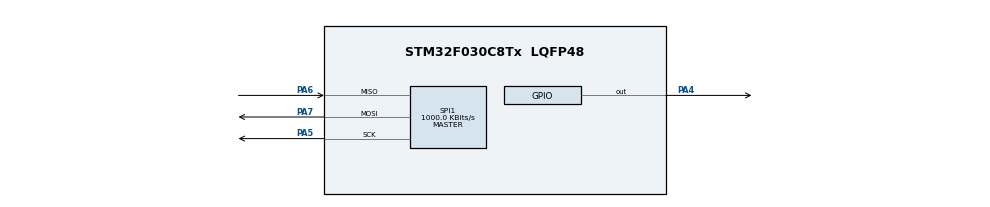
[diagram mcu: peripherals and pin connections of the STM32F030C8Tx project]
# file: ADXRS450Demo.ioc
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Mcu.Family=STM32F0
Mcu.Name=STM32F030C8Tx
Mcu.Package=LQFP48
PA4.Signal=GPIO_Output
PA5.Mode=Full_Duplex_Master
PA5.Signal=SPI1_SCK
PA6.Mode=Full_Duplex_Master
PA6.Signal=SPI1_MISO
PA7.Mode=Full_Duplex_Master
PA7.Signal=SPI1_MOSI
PF0-OSC_IN.Mode=HSE-External-Oscillator
PF0-OSC_IN.Signal=RCC_OSC_IN
PF1-OSC_OUT.Mode=HSE-External-Oscillator
PF1-OSC_OUT.Signal=RCC_OSC_OUT
ProjectManager.HeapSize=0x200
ProjectManager.StackSize=0x400
ProjectManager.TargetToolchain=STM32CubeIDE
SPI1.BaudRatePrescaler=SPI_BAUDRATEPRESCALER_8
SPI1.CalculateBaudRate=1000.0 KBits/s
SPI1.DataSize=SPI_DATASIZE_8BIT
SPI1.Direction=SPI_DIRECTION_2LINES
SPI1.Mode=SPI_MODE_MASTER
SPI1.NSSPMode=SPI_NSS_PULSE_DISABLE
SPI1.VirtualType=VM_MASTER
board=custom

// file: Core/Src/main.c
/* USER CODE BEGIN Header */
/**
  ******************************************************************************
  * @file           : main.c
  * @brief          : Main program body
  ******************************************************************************
  * @attention
  *
  * Copyright (c) 2024 STMicroelectronics.
  * All rights reserved.
  *
  * This software is licensed under terms that can be found in the LICENSE file
  * in the root directory of this software component.
  * If no LICENSE file comes with this software, it is provided AS-IS.
  *
  ******************************************************************************
  */
/* USER CODE END Header */
#include "main.h"
#include "spi.h"
#include "gpio.h"

#include "Libs/filters.h"
#include "subSystems/ADXRS453.h"
/* USER CODE END Includes */

/* USER CODE BEGIN PV */
double rate,temp;
double degree = 0;
float filteredRate;
double avgRate = 0;

double lastDegree = 0;
double drift = 0;

uint16_t sampleTime = 10; //Mill Seconds

uint32_t driftDuration = 60; //seconds
uint32_t sampleIndex = 0;
/* USER CODE END PV */

void SystemClock_Config(void);

int main(void)
{

  /* MCU Configuration--------------------------------------------------------*/

  /* Reset of all peripherals, Initializes the Flash interface and the Systick. */
  HAL_Init();

  /* Configure the system clock */
  SystemClock_Config();

  /* Initialize all configured peripherals */
  MX_GPIO_Init();
  MX_SPI1_Init();
  /* USER CODE BEGIN 2 */

  HAL_GPIO_WritePin(GPIOA,GPIO_PIN_4,GPIO_PIN_SET);
  HAL_Delay(500);
  //ADXRS453_Init();
  if(ADXRS453_Init(0) == 0)Error_Handler();

  temp = ADXRS453_GetTemperature(0);

  ADXRS453data ADX1;

  ADX1.channel = 0;

  ADXRS453_Update(&ADX1);

  Filter_EMA gyroFilter;

  Filter_EMA_Init(&gyroFilter,0.1);

  //start calibration
  rate = ADXRS453_getValue(0);
  HAL_Delay(2000);
  uint16_t sampleCount = 30 * 1000;
  for(int i=0;i<sampleCount;i++){
	  avgRate += ADXRS453_getValue(0);
	  HAL_Delay(1);
  }
  avgRate = avgRate / sampleCount;

  //init lastDegree
  lastDegree = ADXRS453_getValue(0) - avgRate;
  sampleIndex = driftDuration * (1000.0/sampleTime) / 5;

  /* USER CODE END 2 */

  /* Infinite loop */
  while (1)
  {

    /* USER CODE BEGIN 3 */
	  //ADXRS453_Data();
	  rate = ADXRS453_getValue(0) - avgRate;
	  filteredRate = Filter_EMA_Updata(&gyroFilter, rate);
	  HAL_Delay(sampleTime);

	  degree += rate * 0.001 * sampleTime;

	  //calculate Drift
	  sampleIndex++;
	  if(sampleIndex == driftDuration * (1000.0/sampleTime) ){
		  drift = (lastDegree - degree);
		  lastDegree = degree;
		  sampleIndex = 0;
	  }

  }
  /* USER CODE END 3 */
}

void SystemClock_Config(void)
{
  RCC_OscInitTypeDef RCC_OscInitStruct = {0};
  RCC_ClkInitTypeDef RCC_ClkInitStruct = {0};

  /** Initializes the RCC Oscillators according to the specified parameters
  * in the RCC_OscInitTypeDef structure.
  */
  RCC_OscInitStruct.OscillatorType = RCC_OSCILLATORTYPE_HSI;
  RCC_OscInitStruct.HSIState = RCC_HSI_ON;
  RCC_OscInitStruct.HSICalibrationValue = RCC_HSICALIBRATION_DEFAULT;
  RCC_OscInitStruct.PLL.PLLState = RCC_PLL_NONE;
  if (HAL_RCC_OscConfig(&RCC_OscInitStruct) != HAL_OK)
  {
    Error_Handler();
  }

  /** Initializes the CPU, AHB and APB buses clocks
  */
  RCC_ClkInitStruct.ClockType = RCC_CLOCKTYPE_HCLK|RCC_CLOCKTYPE_SYSCLK
                              |RCC_CLOCKTYPE_PCLK1;
  RCC_ClkInitStruct.SYSCLKSource = RCC_SYSCLKSOURCE_HSI;
  RCC_ClkInitStruct.AHBCLKDivider = RCC_SYSCLK_DIV1;
  RCC_ClkInitStruct.APB1CLKDivider = RCC_HCLK_DIV1;

  if (HAL_RCC_ClockConfig(&RCC_ClkInitStruct, FLASH_LATENCY_0) != HAL_OK)
  {
    Error_Handler();
  }
}

void Error_Handler(void)
{
  __disable_irq();
  while (1)
  {
  }
}
